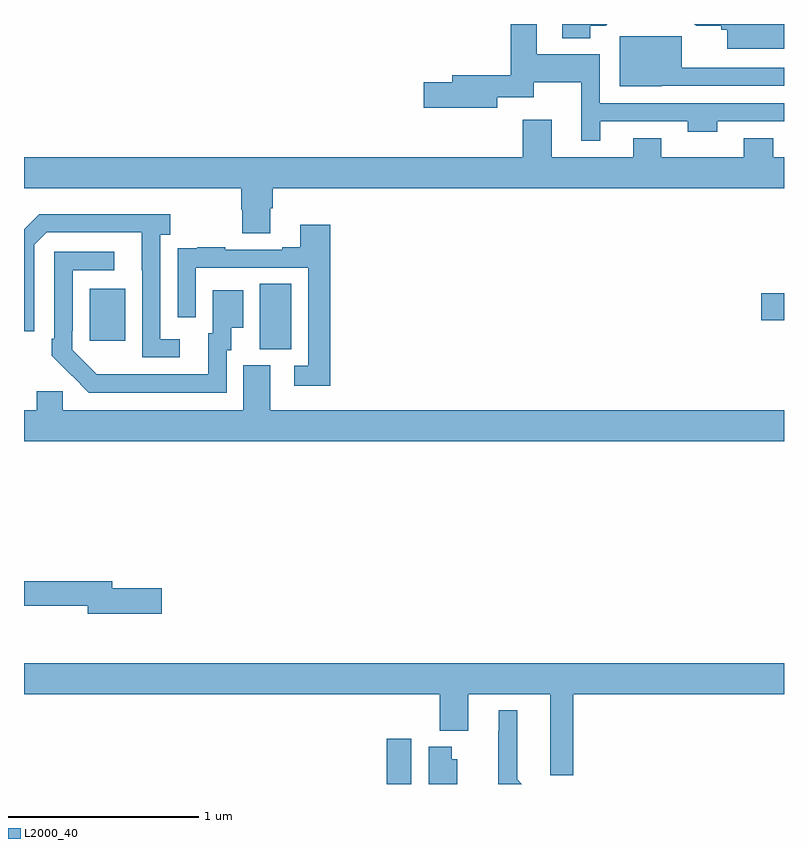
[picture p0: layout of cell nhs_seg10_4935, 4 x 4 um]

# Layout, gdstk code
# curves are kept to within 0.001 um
import gdstk
lib = gdstk.Library(unit=1e-6, precision=1e-09)
def R(c, l, rs):  # rectangles x0, y0, x1, y1
    for r in rs: c.add(gdstk.rectangle(r[:2], r[2:], *l))
def P(c, l, *ps):  # polygons
    for p in ps: c.add(gdstk.Polygon(p, *l))
L2000_40 = (2000, 40)

nhs_seg10_4935 = lib.new_cell('nhs_seg10_4935')
R(nhs_seg10_4935, L2000_40, [(396.908,1310.5,397.039,1310.737), (396.242,1312.789,396.406,1313.132), (395.345,1312.833,395.533,1313.107), (398.88,1312.942,399,1313.084)])
P(nhs_seg10_4935, L2000_40, [(398.032,1313.988),(398.494,1313.988),(398.494,1313.933),(398.649,1313.933),(398.649,1313.988),(399,1313.988),(399,1314.084),(398.031,1314.084),(398.031,1314.34),(397.699,1314.34),(397.699,1314.5),(397.562,1314.5),(397.562,1314.23),(397.253,1314.23),(397.253,1314.194),(397.104,1314.194),(397.104,1314.059),(397.492,1314.059),(397.492,1314.114),(397.684,1314.114),(397.684,1314.194),(397.934,1314.194),(397.934,1313.885),(398.032,1313.885)],
  [(399,1314.5),(398.527,1314.5),(398.537,1314.49),(398.67,1314.49),(398.67,1314.47),(398.702,1314.47),(398.702,1314.371),(399,1314.371)],
  [(397.981,1314.492),(398.061,1314.492),(398.069,1314.5),(397.833,1314.5),(397.833,1314.425),(397.981,1314.425)],
  [(398.357,1314.174),(399,1314.174),(399,1314.27),(398.461,1314.27),(398.461,1314.436),(398.135,1314.436),(398.135,1314.173),(398.357,1314.173)],
  [(396.295,1313.53),(396.308,1313.53),(396.308,1313.636),(399,1313.636),(399,1313.8),(398.943,1313.8),(398.943,1313.899),(398.788,1313.899),(398.788,1313.8),(398.355,1313.8),(398.355,1313.899),(398.207,1313.899),(398.207,1313.8),(397.777,1313.8),(397.777,1313.995),(397.625,1313.995),(397.625,1313.8),(395,1313.8),(395,1313.636),(396.143,1313.636),(396.143,1313.523),(396.148,1313.523),(396.148,1313.398),(396.295,1313.398)],
  [(395.821,1312.842),(395.718,1312.842),(395.718,1313.39),(395.77,1313.39),(395.77,1313.5),(395.08,1313.5),(395,1313.42),(395,1312.884),(395.055,1312.884),(395.055,1313.337),(395.121,1313.403),(395.621,1313.403),(395.622,1312.746),(395.821,1312.746)],
  [(396.611,1313.443),(396.455,1313.443),(396.455,1313.326),(396.359,1313.326),(396.359,1313.313),(396.059,1313.313),(396.059,1313.326),(395.911,1313.326),(395.911,1313.319),(395.809,1313.319),(395.809,1313.21),(395.808,1313.21),(395.808,1312.956),(395.904,1312.956),(395.904,1313.217),(396.495,1313.217),(396.495,1312.701),(396.423,1312.701),(396.423,1312.596),(396.611,1312.596)],
  [(396.066,1312.782),(396.091,1312.782),(396.091,1312.901),(396.154,1312.901),(396.154,1313.098),(395.993,1313.098),(395.993,1312.872),(395.969,1312.872),(395.969,1312.656),(395.382,1312.657),(395.253,1312.785),(395.253,1312.885),(395.256,1312.885),(395.256,1313.205),(395.476,1313.205),(395.476,1313.301),(395.16,1313.301),(395.16,1312.843),(395.145,1312.843),(395.145,1312.755),(395.342,1312.56),(396.066,1312.56)],
  [(399,1312.468),(396.295,1312.468),(396.295,1312.704),(396.155,1312.704),(396.155,1312.468),(395.205,1312.468),(395.205,1312.566),(395.066,1312.566),(395.066,1312.468),(395,1312.468),(395,1312.304),(399,1312.304)],
  [(395.725,1311.53),(395.464,1311.53),(395.464,1311.566),(395,1311.566),(395,1311.438),(395.336,1311.438),(395.336,1311.395),(395.725,1311.395)],
  [(397.892,1310.972),(399,1310.972),(399,1311.136),(395,1311.136),(395,1310.972),(397.187,1310.972),(397.187,1310.78),(397.339,1310.78),(397.339,1310.972),(397.769,1310.972),(397.769,1310.547),(397.892,1310.547)],
  [(397.597,1310.524),(397.597,1310.887),(397.499,1310.887),(397.499,1310.777),(397.495,1310.777),(397.495,1310.5),(397.621,1310.5)],
  [(397.279,1310.631),(397.252,1310.631),(397.252,1310.695),(397.13,1310.695),(397.13,1310.5),(397.279,1310.5)])

lib.write_gds('nhs_seg10_4935.gds')
